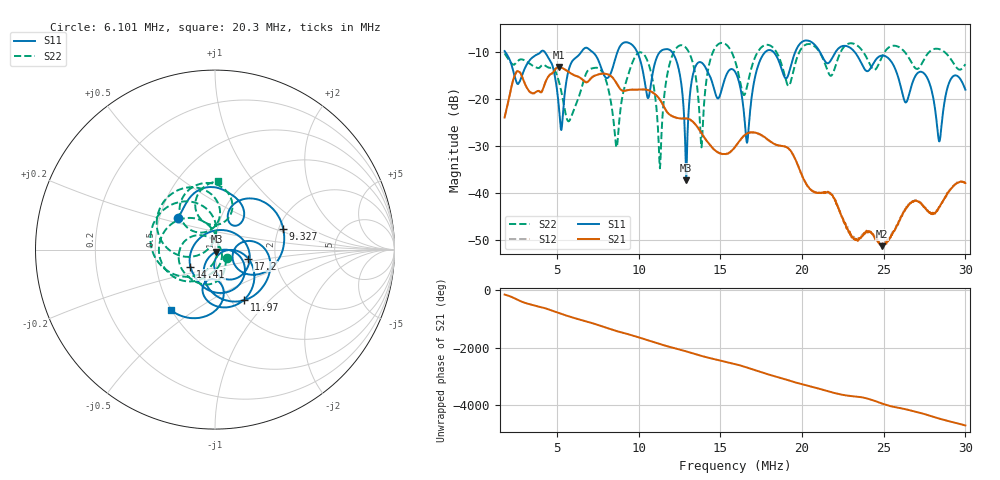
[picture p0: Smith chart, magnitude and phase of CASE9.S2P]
!Agilent Technologies,E5061B,MY49101568,A.02.00
!Date: Wed Mar 01 12:21:31 2023
!Data & Calibration Information:
!Freq	S11:SOLT2(OFF)	S21:SOLT2(OFF)	S12:SOLT2(OFF)	S22:SOLT2(OFF)
# Hz S dB R 50
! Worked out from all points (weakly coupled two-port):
!   1155 points, 1.8 MHz to 30 MHz, reference 50 ohm
!   highest |S21| = -13.24 dB at 5.148 MHz (marker M1); lowest = -51.3 dB at 24.89 MHz (marker M2)
!   lowest |S11| = -37.3 dB at 12.92 MHz (marker M3), VSWR 1.03, Z = 50.8 - j1.1 ohm
!   |S11| at or under -10 dB: 4.249 MHz to 6.5 MHz (2.252 MHz wide, 41.9 % of centre); 12.04 MHz to 17.77 MHz (5.728 MHz wide, 38.4 % of centre); 23.22 MHz to end of sweep (the widest 3 of 8)
!   |S22| runs from -34.7 to -8.1 dB; largest |S21 - S12| = 0.0035
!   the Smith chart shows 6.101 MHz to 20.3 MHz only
!   S11 on the Smith chart (normalised r, x): 6.101 MHz: 0.63, +0.23; 9.327 MHz: 2.11, +0.59; 11.97 MHz: 1.14, -0.72; 14.41 MHz: 0.75, -0.15; 17.2 MHz: 1.44, -0.15; 20.3 MHz: 0.50, -0.41
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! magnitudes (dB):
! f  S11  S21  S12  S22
! 1.8 MHz  -9.8  -23.9  -23.9  -10.3
! 5.148 MHz  -22.8  -13.2  -13.2  -16.6
! 6.101 MHz  -11.4  -15.0  -15.0  -21.7
! 6.516 MHz  -9.9  -15.8  -15.7  -17.6
! 7.787 MHz  -14.1  -14.6  -14.6  -14.3
! 8.642 MHz  -10.7  -16.6  -16.5  -30.3
! 9.327 MHz  -8.0  -18.1  -18.1  -15.3
! 10.45 MHz  -18.1  -18.0  -18.1  -11.2
! 11.21 MHz  -10.5  -19.7  -19.7  -27.8
! 11.97 MHz  -9.7  -23.5  -23.5  -11.8
! 12.92 MHz  -37.3  -24.1  -24.2  -9.2
! 13.85 MHz  -12.3  -27.2  -27.3  -30.3
! 14.41 MHz  -15.5  -29.9  -30.0  -11.4
! 15.9 MHz  -14.2  -30.2  -30.3  -11.9
! 16.63 MHz  -29.3  -27.4  -27.4  -17.4
! 17.2 MHz  -14.3  -27.2  -27.3  -10.6
! 20.3 MHz  -7.6  -38.3  -38.4  -8.4
! 20.62 MHz  -8.0  -39.5  -39.4  -8.5
! 24.89 MHz  -10.8  -51.3  -50.8  -11.0
! 25.31 MHz  -11.4  -50.0  -49.9  -9.1
! 28.39 MHz  -29.0  -42.9  -43.0  -9.4
! 30 MHz  -18.0  -37.9  -37.8  -12.6
